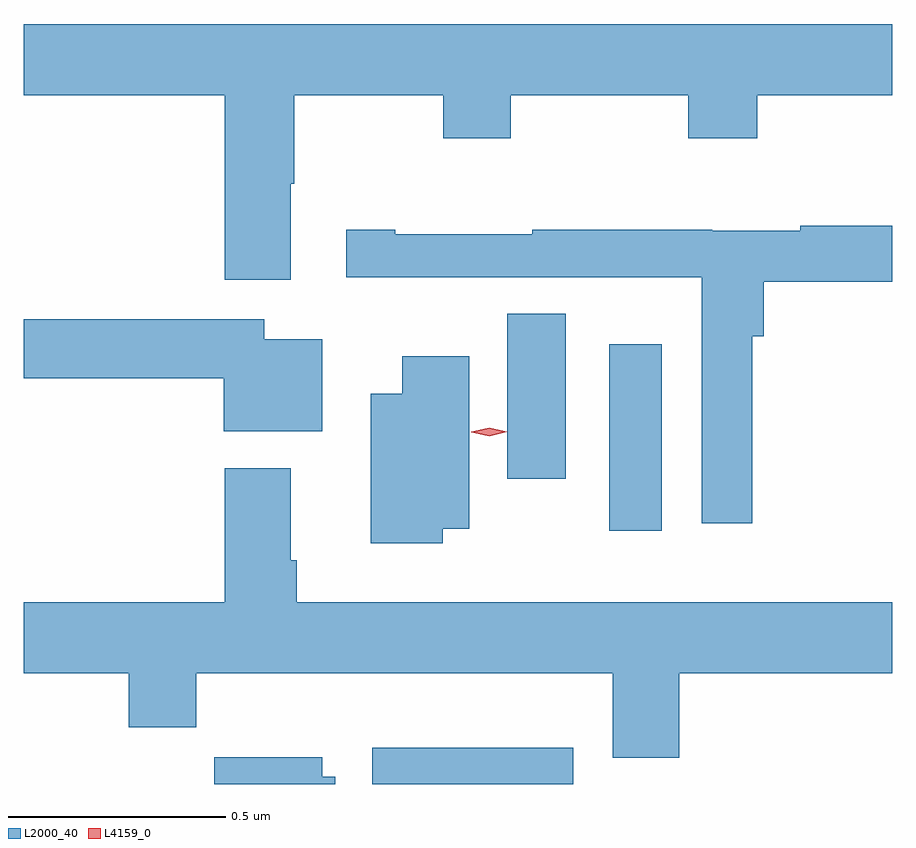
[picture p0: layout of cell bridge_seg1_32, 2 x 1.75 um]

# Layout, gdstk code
import gdstk
lib = gdstk.Library(unit=1e-6, precision=1e-09)
def R(c, l, rs):  # rectangles x0, y0, x1, y1
    for r in rs: c.add(gdstk.rectangle(r[:2], r[2:], *l))
def P(c, l, *ps):  # polygons
    for p in ps: c.add(gdstk.Polygon(p, *l))
L2000_40 = (2000, 40)
L4159_0 = (4159, 0)

bridge_seg1_32 = lib.new_cell('bridge_seg1_32')
R(bridge_seg1_32, L2000_40, [(964.682,550.145,965.146,550.228), (965.228,550.728,965.35,551.158), (964.994,550.848,965.128,551.228)])
P(bridge_seg1_32, L2000_40, [(964.495,551.528),(964.503,551.528),(964.503,551.732),(964.846,551.732),(964.846,551.633),(965.001,551.633),(965.001,551.732),(965.41,551.732),(965.41,551.633),(965.57,551.633),(965.57,551.732),(965.88,551.732),(965.88,551.896),(963.88,551.896),(963.88,551.732),(964.343,551.732),(964.343,551.307),(964.495,551.307)],
  [(965.558,551.177),(965.585,551.177),(965.585,551.302),(965.88,551.302),(965.88,551.431),(965.668,551.431),(965.668,551.42),(965.466,551.42),(965.466,551.422),(965.051,551.422),(965.051,551.412),(964.735,551.412),(964.735,551.422),(964.623,551.422),(964.623,551.312),(964.898,551.312),(964.898,551.313),(965.232,551.313),(965.232,551.312),(965.442,551.312),(965.442,550.746),(965.558,550.746)],
  [(964.567,551.17),(964.434,551.17),(964.434,551.216),(963.88,551.216),(963.88,551.08),(964.34,551.08),(964.34,550.958),(964.567,550.958)],
  [(964.845,550.733),(964.906,550.733),(964.906,551.131),(964.751,551.131),(964.751,551.044),(964.679,551.044),(964.679,550.7),(964.845,550.7)],
  [(965.39,550.4),(965.88,550.4),(965.88,550.564),(964.508,550.564),(964.508,550.66),(964.495,550.66),(964.495,550.873),(964.343,550.873),(964.343,550.564),(963.88,550.564),(963.88,550.4),(964.121,550.4),(964.121,550.276),(964.277,550.276),(964.277,550.4),(965.237,550.4),(965.237,550.206),(965.39,550.206)],
  [(964.597,550.162),(964.567,550.162),(964.567,550.207),(964.318,550.207),(964.318,550.145),(964.597,550.145)])
P(bridge_seg1_32, L4159_0, [(964.952,550.946),(964.911,550.955),(964.911,550.955),(964.911,550.956),(964.952,550.966),(964.993,550.957),(964.993,550.957),(964.993,550.957)])

lib.write_gds('bridge_seg1_32.gds')
